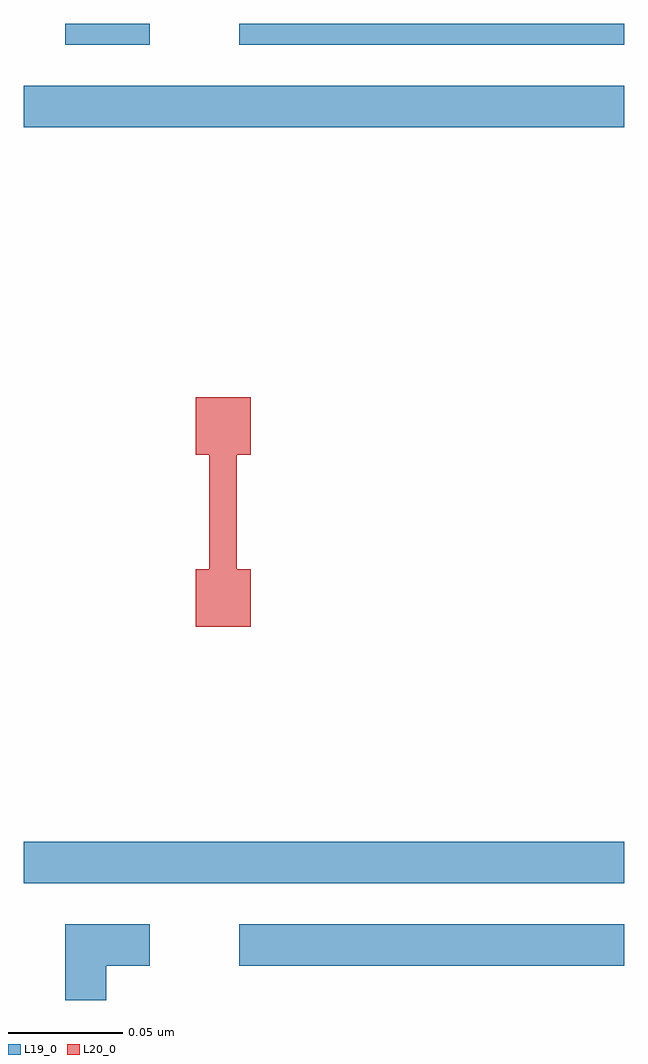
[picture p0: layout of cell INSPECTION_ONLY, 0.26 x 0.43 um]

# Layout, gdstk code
import gdstk
lib = gdstk.Library(unit=1e-6, precision=2.5e-10)
def R(c, l, rs):  # rectangles x0, y0, x1, y1
    for r in rs: c.add(gdstk.rectangle(r[:2], r[2:], *l))
def P(c, l, *ps):  # polygons
    for p in ps: c.add(gdstk.Polygon(p, *l))
L19_0 = (19, 0)
L20_0 = (20, 0)

inspection_only = lib.new_cell('INSPECTION_ONLY')
R(inspection_only, L19_0, [(0.094,0.225,0.262,0.243), (0,0.261,0.262,0.279), (0,0.591,0.262,0.609), (0.018,0.627,0.055,0.636), (0.094,0.627,0.262,0.636)])
P(inspection_only, L19_0, [(0.018,0.21),(0.018,0.243),(0.055,0.243),(0.055,0.225),(0.036,0.225),(0.036,0.21)])
P(inspection_only, L20_0, [(0.075,0.373),(0.075,0.398),(0.081,0.398),(0.081,0.448),(0.075,0.448),(0.075,0.473),(0.099,0.473),(0.099,0.448),(0.093,0.448),(0.093,0.398),(0.099,0.398),(0.099,0.373)])

lib.write_gds('INSPECTION_ONLY.gds')
